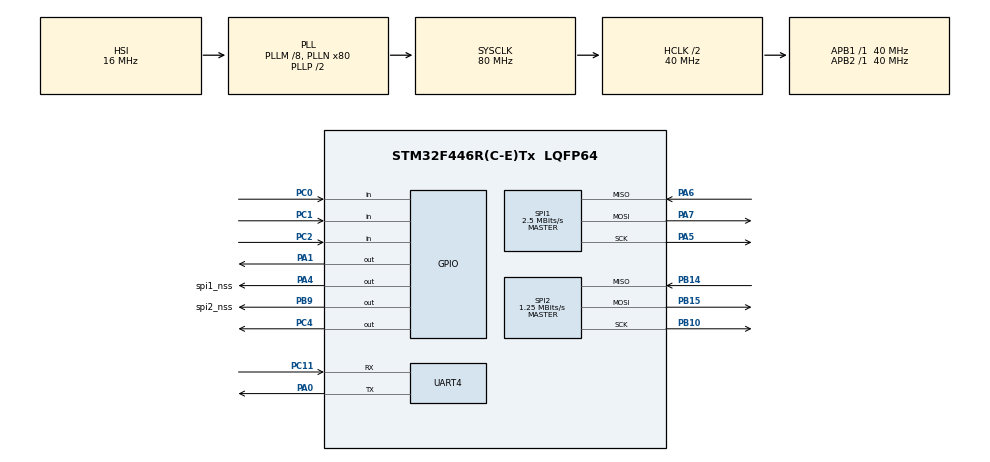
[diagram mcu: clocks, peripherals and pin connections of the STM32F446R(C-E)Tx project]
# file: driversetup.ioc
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Mcu.Family=STM32F4
Mcu.Name=STM32F446R(C-E)Tx
Mcu.Package=LQFP64
NVIC.PriorityGroup=NVIC_PRIORITYGROUP_4
NVIC.SPI1_IRQn=true\:0\:0\:false\:false\:true\:true
NVIC.TIM4_IRQn=true\:0\:0\:false\:false\:true\:true
PA0-WKUP.Mode=Asynchronous
PA0-WKUP.Signal=UART4_TX
PA1.Signal=GPIO_Output
PA4.GPIO_Label=spi1_nss
PA4.GPIO_Speed=GPIO_SPEED_FREQ_VERY_HIGH
PA4.PinState=GPIO_PIN_SET
PA4.Signal=GPIO_Output
PA5.Mode=Full_Duplex_Master
PA5.Signal=SPI1_SCK
PA6.Mode=Full_Duplex_Master
PA6.Signal=SPI1_MISO
PA7.Mode=Full_Duplex_Master
PA7.Signal=SPI1_MOSI
PB10.Mode=Full_Duplex_Master
PB10.Signal=SPI2_SCK
PB14.Mode=Full_Duplex_Master
PB14.Signal=SPI2_MISO
PB15.Mode=Full_Duplex_Master
PB15.Signal=SPI2_MOSI
PB9.GPIO_Label=spi2_nss
PB9.GPIO_Speed=GPIO_SPEED_FREQ_VERY_HIGH
PB9.PinState=GPIO_PIN_SET
PB9.Signal=GPIO_Output
PC0.Signal=GPIO_Input
PC1.Signal=GPIO_Input
PC11.Mode=Asynchronous
PC11.Signal=UART4_RX
PC2.Signal=GPIO_Input
PC4.Signal=GPIO_Output
ProjectManager.HeapSize=0x200
ProjectManager.StackSize=0x400
ProjectManager.TargetToolchain=SW4STM32
RCC.AHBCLKDivider=RCC_SYSCLK_DIV2
RCC.AHBFreq_Value=40000000
RCC.APB1Freq_Value=40000000
RCC.APB1TimFreq_Value=40000000
RCC.APB2Freq_Value=40000000
RCC.APB2TimFreq_Value=40000000
RCC.CortexFreq_Value=40000000
RCC.HCLKFreq_Value=40000000
RCC.PLLM=8
RCC.PLLN=80
RCC.SYSCLKFreq_VALUE=80000000
RCC.SYSCLKSource=RCC_SYSCLKSOURCE_PLLCLK
RCC.USBFreq_Value=80000000
RCC.VCOOutputFreq_Value=160000000
SPI1.BaudRatePrescaler=SPI_BAUDRATEPRESCALER_16
SPI1.CLKPhase=SPI_PHASE_1EDGE
SPI1.CLKPolarity=SPI_POLARITY_LOW
SPI1.CalculateBaudRate=2.5 MBits/s
SPI1.Direction=SPI_DIRECTION_2LINES
SPI1.Mode=SPI_MODE_MASTER
SPI1.VirtualType=VM_MASTER
SPI2.BaudRatePrescaler=SPI_BAUDRATEPRESCALER_32
SPI2.CalculateBaudRate=1.25 MBits/s
SPI2.DataSize=SPI_DATASIZE_8BIT
SPI2.Direction=SPI_DIRECTION_2LINES
SPI2.Mode=SPI_MODE_MASTER
SPI2.TIMode=SPI_TIMODE_DISABLE
SPI2.VirtualType=VM_MASTER
TIM4.ClockDivision=TIM_CLOCKDIVISION_DIV2
TIM4.Period=700
TIM4.Prescaler=30000
UART4.VirtualMode=Asynchronous
VP_TIM4_VS_ClockSourceINT.Mode=Internal
board=driversetup

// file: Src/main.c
/**
  ******************************************************************************
  * @file           : main.c
  * @brief          : Main program body
  ******************************************************************************
  ** This notice applies to any and all portions of this file
  * that are not between comment pairs USER CODE BEGIN and
  * USER CODE END. Other portions of this file, whether
  * inserted by the user or by software development tools
  * are owned by their respective copyright owners.
  *
  * COPYRIGHT(c) 2018 STMicroelectronics
  *
  * Redistribution and use in source and binary forms, with or without modification,
  * are permitted provided that the following conditions are met:
  *   1. Redistributions of source code must retain the above copyright notice,
  *      this list of conditions and the following disclaimer.
  *   2. Redistributions in binary form must reproduce the above copyright notice,
  *      this list of conditions and the following disclaimer in the documentation
  *      and/or other materials provided with the distribution.
  *   3. Neither the name of STMicroelectronics nor the names of its contributors
  *      may be used to endorse or promote products derived from this software
  *      without specific prior written permission.
  *
  * THIS SOFTWARE IS PROVIDED BY THE COPYRIGHT HOLDERS AND CONTRIBUTORS "AS IS"
  * AND ANY EXPRESS OR IMPLIED WARRANTIES, INCLUDING, BUT NOT LIMITED TO, THE
  * IMPLIED WARRANTIES OF MERCHANTABILITY AND FITNESS FOR A PARTICULAR PURPOSE ARE
  * DISCLAIMED. IN NO EVENT SHALL THE COPYRIGHT HOLDER OR CONTRIBUTORS BE LIABLE
  * FOR ANY DIRECT, INDIRECT, INCIDENTAL, SPECIAL, EXEMPLARY, OR CONSEQUENTIAL
  * DAMAGES (INCLUDING, BUT NOT LIMITED TO, PROCUREMENT OF SUBSTITUTE GOODS OR
  * SERVICES; LOSS OF USE, DATA, OR PROFITS; OR BUSINESS INTERRUPTION) HOWEVER
  * CAUSED AND ON ANY THEORY OF LIABILITY, WHETHER IN CONTRACT, STRICT LIABILITY,
  * OR TORT (INCLUDING NEGLIGENCE OR OTHERWISE) ARISING IN ANY WAY OUT OF THE USE
  * OF THIS SOFTWARE, EVEN IF ADVISED OF THE POSSIBILITY OF SUCH DAMAGE.
  *
  ******************************************************************************
  */
#include "main.h"
#include "stm32f4xx_hal.h"
#include "spi.h"
#include "tim.h"
#include "usart.h"
#include "gpio.h"

/* USER CODE BEGIN PV */
/* Private variables ---------------------------------------------------------*/
/* USER CODE END PV */

void SystemClock_Config(void);

/* USER CODE BEGIN PFP */
/* Private function prototypes -----------------------------------------------*/
/* USER CODE END PFP */

/* USER CODE BEGIN 0 */
int readSensor=0;
int userButtonPressed=0;
extern uint8_t spiRxBuf[8];
/* USER CODE END 0 */

int main(void)
{

  /* MCU Configuration----------------------------------------------------------*/

  /* Reset of all peripherals, Initializes the Flash interface and the Systick. */
  HAL_Init();

  /* Configure the system clock */
  SystemClock_Config();

  /* Initialize all configured peripherals */
  MX_GPIO_Init();
  MX_SPI1_Init();
  MX_SPI2_Init();
  MX_UART4_Init();
  MX_TIM4_Init();
  /* USER CODE BEGIN 2 */
  /*spi2_startup();
  spi2_read_status();
  spi2_read_data();
  spi2_whoami();
*/
 uint8_t address[8];
 uint8_t data[8];
 for(int i=0;i<8;i++){
	 data[i]=0x11;
 }
 address[0]=0x00;
 address[1]=0xff;
 address[2]=0x00;
spi1_chip_erase();
HAL_Delay(50);
while(!spi1_check_ready());
spi1_write_register(address,data,5);
HAL_Delay(50);
while(!spi1_check_ready());
HAL_Delay(50);
spi1_read_register(address);
HAL_Delay(50);  //Start timer4
  spi2_startup();
  HAL_TIM_Base_Start_IT(&htim4);
  /* USER CODE END 2 */

  /* Infinite loop */
  /* USER CODE BEGIN WHILE */
  while (1)
  {
	  /*if(HAL_GPIO_ReadPin(GPIOC,GPIO_PIN_1)==GPIO_PIN_RESET){
		  data=1;
	  }
	  if(HAL_GPIO_ReadPin(GPIOC,GPIO_PIN_0)==GPIO_PIN_RESET){
		  data = 0;
	  }
	  if(data==1){
		  HAL_GPIO_WritePin(GPIOC,GPIO_PIN_4,GPIO_PIN_SET);
		  HAL_GPIO_WritePin(GPIOA,GPIO_PIN_1,GPIO_PIN_SET);
	  }
	  if(data == 0){
		  HAL_GPIO_WritePin(GPIOC,GPIO_PIN_4,GPIO_PIN_RESET);
		  HAL_GPIO_WritePin(GPIOA,GPIO_PIN_1,GPIO_PIN_RESET);

	  }*/
	  if(HAL_GPIO_ReadPin(GPIOC,GPIO_PIN_1)==GPIO_PIN_RESET)
	  {
		  userButtonPressed=!userButtonPressed;
	  }

		  if(userButtonPressed==1) //|| uartAskedforDataCollection
		  {
			  if(readSensor)
			  {
				  readSensor=0;
				  if(spi2_read_status())
				  {
					  spi2_read_data();
				  }
			  }
		  }

  /* USER CODE END WHILE */

  }

}

void SystemClock_Config(void)
{

  RCC_OscInitTypeDef RCC_OscInitStruct;
  RCC_ClkInitTypeDef RCC_ClkInitStruct;

    /**Configure the main internal regulator output voltage
    */
  __HAL_RCC_PWR_CLK_ENABLE();

  __HAL_PWR_VOLTAGESCALING_CONFIG(PWR_REGULATOR_VOLTAGE_SCALE3);

    /**Initializes the CPU, AHB and APB busses clocks
    */
  RCC_OscInitStruct.OscillatorType = RCC_OSCILLATORTYPE_HSI;
  RCC_OscInitStruct.HSIState = RCC_HSI_ON;
  RCC_OscInitStruct.HSICalibrationValue = 16;
  RCC_OscInitStruct.PLL.PLLState = RCC_PLL_ON;
  RCC_OscInitStruct.PLL.PLLSource = RCC_PLLSOURCE_HSI;
  RCC_OscInitStruct.PLL.PLLM = 8;
  RCC_OscInitStruct.PLL.PLLN = 80;
  RCC_OscInitStruct.PLL.PLLP = RCC_PLLP_DIV2;
  RCC_OscInitStruct.PLL.PLLQ = 2;
  RCC_OscInitStruct.PLL.PLLR = 2;
  if (HAL_RCC_OscConfig(&RCC_OscInitStruct) != HAL_OK)
  {
    _Error_Handler(__FILE__, __LINE__);
  }

    /**Initializes the CPU, AHB and APB busses clocks
    */
  RCC_ClkInitStruct.ClockType = RCC_CLOCKTYPE_HCLK|RCC_CLOCKTYPE_SYSCLK
                              |RCC_CLOCKTYPE_PCLK1|RCC_CLOCKTYPE_PCLK2;
  RCC_ClkInitStruct.SYSCLKSource = RCC_SYSCLKSOURCE_PLLCLK;
  RCC_ClkInitStruct.AHBCLKDivider = RCC_SYSCLK_DIV2;
  RCC_ClkInitStruct.APB1CLKDivider = RCC_HCLK_DIV1;
  RCC_ClkInitStruct.APB2CLKDivider = RCC_HCLK_DIV1;

  if (HAL_RCC_ClockConfig(&RCC_ClkInitStruct, FLASH_LATENCY_1) != HAL_OK)
  {
    _Error_Handler(__FILE__, __LINE__);
  }

    /**Configure the Systick interrupt time
    */
  HAL_SYSTICK_Config(HAL_RCC_GetHCLKFreq()/1000);

    /**Configure the Systick
    */
  HAL_SYSTICK_CLKSourceConfig(SYSTICK_CLKSOURCE_HCLK);

  /* SysTick_IRQn interrupt configuration */
  HAL_NVIC_SetPriority(SysTick_IRQn, 0, 0);
}

/* USER CODE BEGIN 4 */
void HAL_TIM_PeriodElapsedCallback(TIM_HandleTypeDef *htim){
	if(htim->Instance==TIM4){
		HAL_GPIO_TogglePin(GPIOC,GPIO_PIN_4);
		readSensor=1;
	}
}
/* USER CODE END 4 */

void _Error_Handler(char *file, int line)
{
  while(1)
  {
  }
}

/************************ (C) COPYRIGHT STMicroelectronics *****END OF FILE****/
